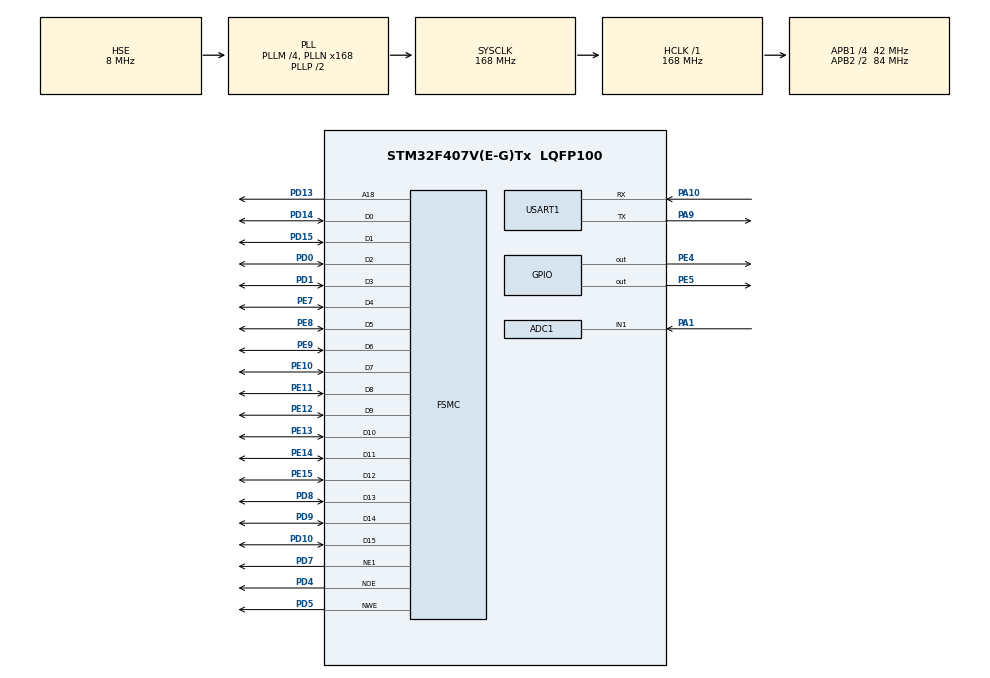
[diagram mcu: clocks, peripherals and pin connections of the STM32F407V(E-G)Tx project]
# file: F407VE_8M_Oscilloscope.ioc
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ADC1.Channel-0\#ChannelRegularConversion=ADC_CHANNEL_1
ADC1.ContinuousConvMode=DISABLE
ADC1.DMAContinuousRequests=ENABLE
ADC1.EnableAnalogWatchDog=true
ADC1.ExternalTrigConv=ADC_EXTERNALTRIGCONV_T2_TRGO
ADC1.HighThreshold=2048
ADC1.ITMode=ENABLE
ADC1.InjNumberOfConversion=0
ADC1.Mode=__NULL
ADC1.NbrOfConversionFlag=1
ADC1.Rank-0\#ChannelRegularConversion=1
ADC1.SamplingTime-0\#ChannelRegularConversion=ADC_SAMPLETIME_3CYCLES
ADC1.ScanConvMode=DISABLE
ADC1.WatchdogChannel=ADC_CHANNEL_1
ADC1.master=1
Dma.ADC1.0.Direction=DMA_PERIPH_TO_MEMORY
Dma.ADC1.0.FIFOMode=DMA_FIFOMODE_DISABLE
Dma.ADC1.0.Instance=DMA2_Stream0
Dma.ADC1.0.MemDataAlignment=DMA_MDATAALIGN_HALFWORD
Dma.ADC1.0.MemInc=DMA_MINC_ENABLE
Dma.ADC1.0.Mode=DMA_CIRCULAR
Dma.ADC1.0.PeriphDataAlignment=DMA_PDATAALIGN_HALFWORD
Dma.ADC1.0.PeriphInc=DMA_PINC_DISABLE
Dma.ADC1.0.Priority=DMA_PRIORITY_LOW
Dma.Request0=ADC1
FSMC.BusTurnAroundDuration1=15
FSMC.DataSetupTime1=60
FSMC.ExtendedAddressSetupTime1=15
FSMC.ExtendedBusTurnAroundDuration1=15
FSMC.ExtendedDataSetupTime1=60
FSMC.ExtendedMode1=FSMC_EXTENDED_MODE_ENABLE
Mcu.Family=STM32F4
Mcu.Name=STM32F407V(E-G)Tx
Mcu.Package=LQFP100
NVIC.ADC_IRQn=true\:0\:0\:false\:false\:true\:true\:true
NVIC.PriorityGroup=NVIC_PRIORITYGROUP_4
NVIC.USART1_IRQn=true\:0\:0\:false\:false\:true\:true\:true
PA1.Signal=ADCx_IN1
PA10.Mode=Asynchronous
PA10.Signal=USART1_RX
PA13.Mode=Serial_Wire
PA13.Signal=SYS_JTMS-SWDIO
PA14.Mode=Serial_Wire
PA14.Signal=SYS_JTCK-SWCLK
PA9.Mode=Asynchronous
PA9.Signal=USART1_TX
PC14-OSC32_IN.Mode=LSE-External-Oscillator
PC14-OSC32_IN.Signal=RCC_OSC32_IN
PC15-OSC32_OUT.Mode=LSE-External-Oscillator
PC15-OSC32_OUT.Signal=RCC_OSC32_OUT
PD0.Mode=16b-d1
PD0.Signal=FSMC_D2
PD1.Mode=16b-d1
PD1.Signal=FSMC_D3
PD10.Mode=16b-d1
PD10.Signal=FSMC_D15
PD13.Mode=A18_1
PD13.Signal=FSMC_A18
PD14.Mode=16b-d1
PD14.Signal=FSMC_D0
PD15.Mode=16b-d1
PD15.Signal=FSMC_D1
PD4.Mode=Lcd1
PD4.Signal=FSMC_NOE
PD5.Mode=Lcd1
PD5.Signal=FSMC_NWE
PD7.Mode=NorPsramChipSelect1_1
PD7.Signal=FSMC_NE1
PD8.Mode=16b-d1
PD8.Signal=FSMC_D13
PD9.Mode=16b-d1
PD9.Signal=FSMC_D14
PE10.Mode=16b-d1
PE10.Signal=FSMC_D7
PE11.Mode=16b-d1
PE11.Signal=FSMC_D8
PE12.Mode=16b-d1
PE12.Signal=FSMC_D9
PE13.Mode=16b-d1
PE13.Signal=FSMC_D10
PE14.Mode=16b-d1
PE14.Signal=FSMC_D11
PE15.Mode=16b-d1
PE15.Signal=FSMC_D12
PE4.GPIO_ModeDefaultOutputPP=GPIO_MODE_OUTPUT_PP
PE4.GPIO_PuPd=GPIO_PULLUP
PE4.GPIO_Speed=GPIO_SPEED_FREQ_VERY_HIGH
PE4.PinState=GPIO_PIN_SET
PE4.Signal=GPIO_Output
PE5.GPIO_ModeDefaultOutputPP=GPIO_MODE_OUTPUT_PP
PE5.GPIO_PuPd=GPIO_PULLUP
PE5.GPIO_Speed=GPIO_SPEED_FREQ_VERY_HIGH
PE5.PinState=GPIO_PIN_SET
PE5.Signal=GPIO_Output
PE7.Mode=16b-d1
PE7.Signal=FSMC_D4
PE8.Mode=16b-d1
PE8.Signal=FSMC_D5
PE9.Mode=16b-d1
PE9.Signal=FSMC_D6
PH0-OSC_IN.Mode=HSE-External-Oscillator
PH0-OSC_IN.Signal=RCC_OSC_IN
PH1-OSC_OUT.Mode=HSE-External-Oscillator
PH1-OSC_OUT.Signal=RCC_OSC_OUT
ProjectManager.HeapSize=0x200
ProjectManager.StackSize=0x400
ProjectManager.TargetToolchain=MDK-ARM V5.27
RCC.48MHZClocksFreq_Value=84000000
RCC.AHBFreq_Value=168000000
RCC.APB1CLKDivider=RCC_HCLK_DIV4
RCC.APB1Freq_Value=42000000
RCC.APB1TimFreq_Value=84000000
RCC.APB2CLKDivider=RCC_HCLK_DIV2
RCC.APB2Freq_Value=84000000
RCC.APB2TimFreq_Value=168000000
RCC.CortexFreq_Value=168000000
RCC.HCLKFreq_Value=168000000
RCC.HSE_VALUE=8000000
RCC.HSI_VALUE=16000000
RCC.PLLM=4
RCC.PLLN=168
RCC.PLLSourceVirtual=RCC_PLLSOURCE_HSE
RCC.SYSCLKFreq_VALUE=168000000
RCC.SYSCLKSource=RCC_SYSCLKSOURCE_PLLCLK
RCC.VCOOutputFreq_Value=336000000
SH.ADCx_IN1.0=ADC1_IN1,IN1
TIM2.Period=167
TIM2.TIM_MasterOutputTrigger=TIM_TRGO_UPDATE
USART1.VirtualMode=VM_ASYNC
VP_TIM2_VS_ClockSourceINT.Mode=Internal
board=custom

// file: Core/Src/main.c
/* USER CODE BEGIN Header */
/**
  ******************************************************************************
  * @file           : main.c
  * @brief          : Main program body
  ******************************************************************************
  * @attention
  *
  * <h2><center>&copy; Copyright (c) 2021 STMicroelectronics.
  * All rights reserved.</center></h2>
  *
  * This software component is licensed by ST under BSD 3-Clause license,
  * the "License"; You may not use this file except in compliance with the
  * License. You may obtain a copy of the License at:
  *                        opensource.org/licenses/BSD-3-Clause
  *
  ******************************************************************************
  */
/* USER CODE END Header */
#include "main.h"
#include "adc.h"
#include "dma.h"
#include "tim.h"
#include "usart.h"
#include "gpio.h"
#include "fsmc.h"

/* USER CODE BEGIN Includes */
#include "DELAY/delay.h"
#include "LCD/lcd.h"
#include <string.h>
/* USER CODE END Includes */

/* USER CODE BEGIN PM */
#define ARRLEN 512
#define DISPLAYLEN 320
#define DISPLAYHEIGHT 240
#define THRESHOLD 2048
/* USER CODE END PM */

/* USER CODE BEGIN PV */
uint16_t val[ARRLEN];
int16_t waveBuf1[DISPLAYLEN * 2], waveBuf2[DISPLAYLEN * 2];
uint8_t waveState = 0;
double scaler = 0.07;
uint8_t displayMode = 0; // 0: dot, 1: vector
/* USER CODE END PV */

void SystemClock_Config(void);

/* USER CODE BEGIN 0 */
void Wave_DrawLine(int16_t *lastBuf, int16_t *currBuf, uint16_t len, uint32_t backColor, uint32_t color)
{
  uint16_t i, j;
  for (i = 0; i < len; i++)
  {
    for (j = lastBuf[2 * i]; j <= lastBuf[2 * i + 1]; j++)
      LCD_Fast_DrawPoint(i,DISPLAYHEIGHT - j, backColor);
    for (j = currBuf[2 * i]; j <= currBuf[2 * i + 1]; j++)
      LCD_Fast_DrawPoint(i, DISPLAYHEIGHT - j, color);
  }
}

void Wave_CalcLine(uint16_t x1, uint16_t y1, uint16_t x2, uint16_t y2, int16_t *buf)
{
  uint16_t t;
  int xerr = 0, yerr = 0, delta_x, delta_y, distance;
  int incx, incy, uRow, uCol;
  delta_x = x2 - x1;
  delta_y = y2 - y1;
  uRow = x1;
  uCol = y1;
  if (delta_x > 0)
    incx = 1;
  else if (delta_x == 0)
    incx = 0;
  else
  {
    incx = -1;
    delta_x = -delta_x;
  }
  if (delta_y > 0)
    incy = 1;
  else if (delta_y == 0)
    incy = 0;
  else
  {
    incy = -1;
    delta_y = -delta_y;
  }
  distance = (delta_x > delta_y) ? delta_x : delta_y;
  for (t = 0; t <= distance + 1; t++)
  {

    if (buf[uCol * 2] == -1 && buf[uCol * 2 + 1] == -1)
      buf[uCol * 2] = buf[uCol * 2 + 1] = uRow;
    else if (uRow < buf[uCol * 2])
      buf[uCol * 2] = uRow;
    else if (uRow > buf[uCol * 2 + 1])
      buf[uCol * 2 + 1] = uRow;

    xerr += delta_x;
    yerr += delta_y;
    if (xerr > distance)
    {
      xerr -= distance;
      uRow += incx;
    }
    if (yerr > distance)
    {
      yerr -= distance;
      uCol += incy;
    }
  }
}
/* USER CODE END 0 */

int main(void)
{

  /* MCU Configuration--------------------------------------------------------*/

  /* Reset of all peripherals, Initializes the Flash interface and the Systick. */
  HAL_Init();

  /* Configure the system clock */
  SystemClock_Config();

  /* Initialize all configured peripherals */
  MX_GPIO_Init();
  MX_DMA_Init();
  MX_USART1_UART_Init();
  MX_ADC1_Init();
  MX_TIM2_Init();
  MX_FSMC_Init();
  /* USER CODE BEGIN 2 */
  Delay_Init(168);
  LCD_Init();
  LCD_Display_Dir(1);
  HAL_TIM_Base_Start(&htim2);
  LCD_Clear(WHITE);
  HAL_ADC_Start_DMA(&hadc1, val, ARRLEN);
  Delay_ms(200);
  LCD_SetPointColor(RED);
  LCD_SetBkGNDColor(WHITE);
  Delay_ms(200);

  /* USER CODE END 2 */

  /* Infinite loop */
  while (1)
  {

    /* USER CODE BEGIN 3 */
    Delay_ms(200);
  }
  /* USER CODE END 3 */
}

void SystemClock_Config(void)
{
  RCC_OscInitTypeDef RCC_OscInitStruct = {0};
  RCC_ClkInitTypeDef RCC_ClkInitStruct = {0};

  /** Configure the main internal regulator output voltage
  */
  __HAL_RCC_PWR_CLK_ENABLE();
  __HAL_PWR_VOLTAGESCALING_CONFIG(PWR_REGULATOR_VOLTAGE_SCALE1);
  /** Initializes the RCC Oscillators according to the specified parameters
  * in the RCC_OscInitTypeDef structure.
  */
  RCC_OscInitStruct.OscillatorType = RCC_OSCILLATORTYPE_HSE;
  RCC_OscInitStruct.HSEState = RCC_HSE_ON;
  RCC_OscInitStruct.PLL.PLLState = RCC_PLL_ON;
  RCC_OscInitStruct.PLL.PLLSource = RCC_PLLSOURCE_HSE;
  RCC_OscInitStruct.PLL.PLLM = 4;
  RCC_OscInitStruct.PLL.PLLN = 168;
  RCC_OscInitStruct.PLL.PLLP = RCC_PLLP_DIV2;
  RCC_OscInitStruct.PLL.PLLQ = 4;
  if (HAL_RCC_OscConfig(&RCC_OscInitStruct) != HAL_OK)
  {
    Error_Handler();
  }
  /** Initializes the CPU, AHB and APB buses clocks
  */
  RCC_ClkInitStruct.ClockType = RCC_CLOCKTYPE_HCLK | RCC_CLOCKTYPE_SYSCLK | RCC_CLOCKTYPE_PCLK1 | RCC_CLOCKTYPE_PCLK2;
  RCC_ClkInitStruct.SYSCLKSource = RCC_SYSCLKSOURCE_PLLCLK;
  RCC_ClkInitStruct.AHBCLKDivider = RCC_SYSCLK_DIV1;
  RCC_ClkInitStruct.APB1CLKDivider = RCC_HCLK_DIV4;
  RCC_ClkInitStruct.APB2CLKDivider = RCC_HCLK_DIV2;

  if (HAL_RCC_ClockConfig(&RCC_ClkInitStruct, FLASH_LATENCY_5) != HAL_OK)
  {
    Error_Handler();
  }
}

/* USER CODE BEGIN 4 */
uint16_t ModCalc(int16_t num)
{
  return ((2 * ARRLEN + num) % ARRLEN);
}

void HAL_ADC_LevelOutOfWindowCallback(ADC_HandleTypeDef *hadc)
{
  uint16_t start, rest, i, tmp, lastVal, currVal;
  int16_t *currWave, *lastWave;
  uint16_t minVal = 0xFFFF, maxVal=0;
  if (hadc == &hadc1)
  {
    __HAL_ADC_DISABLE_IT(hadc, ADC_IT_AWD);
    Delay_ms(50);

    // make level trigger into edge trigger
    if (hadc1.Instance->HTR == THRESHOLD)
    {
      hadc1.Instance->HTR = 0xFFF;
      hadc1.Instance->LTR = THRESHOLD;

      // switch display buffer
      lastWave = waveState ? waveBuf2 : waveBuf1;
      currWave = waveState ? waveBuf1 : waveBuf2;
      waveState = !waveState;

      __HAL_DMA_DISABLE(&hdma_adc1);
      rest = hadc1.DMA_Handle->Instance->NDTR;
      start = ModCalc(-rest - DISPLAYLEN);

      minVal = 0xFFFF;
      maxVal = 0;
      for (i = 1; i < DISPLAYLEN; i++)
      {
        tmp = (start + i) % ARRLEN;
        if(val[tmp] < minVal)
          minVal = val[tmp];
        if(val[tmp] > maxVal)
          maxVal = val[tmp];
      }
      LCD_ShowNum(2, 2, maxVal-minVal, 24);

      // dot mode
      if (displayMode == 0)
      {
        LCD_SetPointColor(WHITE);
        for (i = 0; i < DISPLAYLEN; i++)
          LCD_DrawPoint(i, DISPLAYHEIGHT - lastWave[i]);
        for (i = 0; i < DISPLAYLEN; i++)
          currWave[i] = val[(start + i) % ARRLEN] * scaler;
        LCD_SetPointColor(RED);
        for (i = 1; i < DISPLAYLEN; i++)
          LCD_DrawPoint(i, DISPLAYHEIGHT - currWave[i]);
      }
      // vector mode
      else
      {
        // calculate first, then display all points
        memset(currWave, -1, sizeof(waveBuf1));
        lastVal = val[(start + 0) % ARRLEN] * scaler;
        for (i = 1; i < DISPLAYLEN; i++)
        {
          currVal = val[(start + i) % ARRLEN] * scaler;
          Wave_CalcLine(currVal, i, lastVal, i - 1, currWave);
          lastVal = currVal;
        }
        Wave_DrawLine(lastWave, currWave, DISPLAYLEN, WHITE, RED);
      }
      __HAL_DMA_ENABLE(&hdma_adc1);
    }
    else
    {
      hadc1.Instance->HTR = THRESHOLD;
      hadc1.Instance->LTR = 0;
    }
    __HAL_ADC_ENABLE_IT(hadc, ADC_IT_AWD);
  }
}
/* USER CODE END 4 */

void Error_Handler(void)
{
  __disable_irq();
  while (1)
  {
  }
}

/************************ (C) COPYRIGHT STMicroelectronics *****END OF FILE****/
